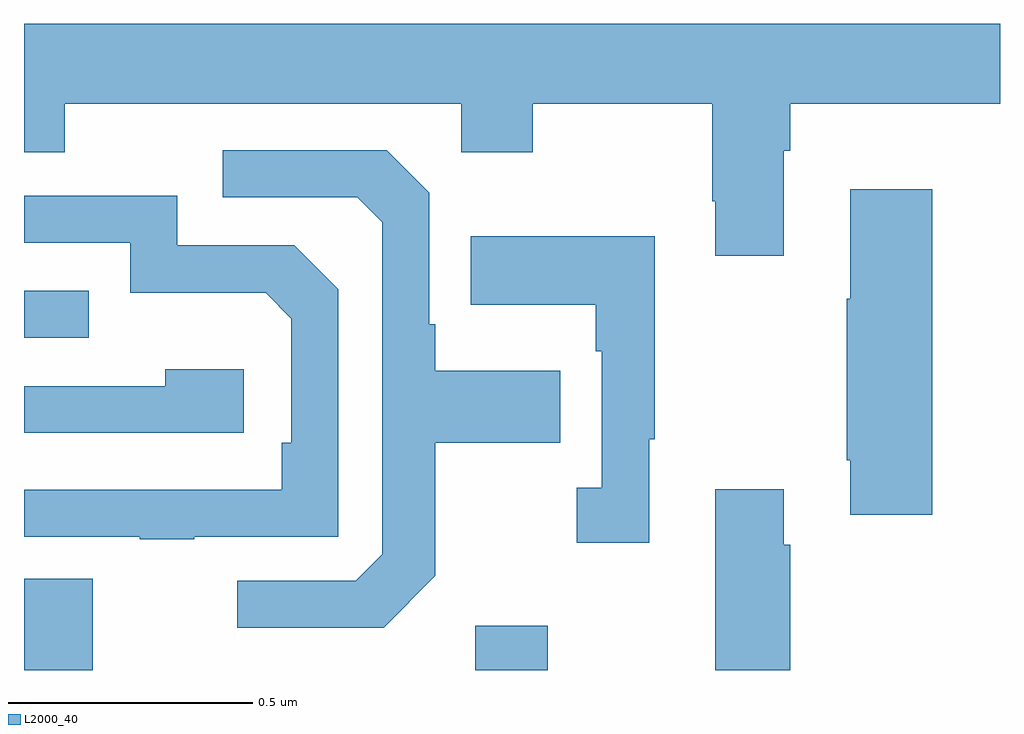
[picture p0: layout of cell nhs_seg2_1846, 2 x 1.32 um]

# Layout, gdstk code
import gdstk
lib = gdstk.Library(unit=1e-6, precision=1e-09)
def R(c, l, rs):  # rectangles x0, y0, x1, y1
    for r in rs: c.add(gdstk.rectangle(r[:2], r[2:], *l))
def P(c, l, *ps):  # polygons
    for p in ps: c.add(gdstk.Polygon(p, *l))
L2000_40 = (2000, 40)

nhs_seg2_1846 = lib.new_cell('nhs_seg2_1846')
R(nhs_seg2_1846, L2000_40, [(133.001,655.8,133.141,655.987), (133.925,655.8,134.073,655.891), (133,656.481,133.133,656.577)])
P(nhs_seg2_1846, L2000_40, [(134.557,656.864),(134.57,656.864),(134.57,656.96),(135,656.96),(135,657.124),(133,657.124),(133,656.861),(133.083,656.861),(133.083,656.96),(133.896,656.96),(133.896,656.861),(134.043,656.861),(134.043,656.96),(134.41,656.96),(134.41,656.761),(134.417,656.761),(134.417,656.649),(134.557,656.649)],
  [(133.843,655.993),(133.843,656.266),(134.099,656.266),(134.099,656.413),(133.843,656.413),(133.843,656.509),(133.83,656.509),(133.83,656.778),(133.743,656.865),(133.407,656.865),(133.407,656.769),(133.683,656.769),(133.734,656.718),(133.734,656.037),(133.68,655.983),(133.437,655.983),(133.437,655.887),(133.737,655.887)],
  [(134.861,656.785),(134.693,656.785),(134.693,656.561),(134.686,656.561),(134.686,656.23),(134.693,656.23),(134.693,656.118),(134.861,656.118)],
  [(133.349,656.073),(133.644,656.073),(133.644,656.58),(133.554,656.67),(133.314,656.67),(133.314,656.772),(133,656.772),(133,656.676),(133.218,656.676),(133.218,656.573),(133.495,656.573),(133.548,656.52),(133.548,656.266),(133.528,656.266),(133.528,656.169),(133,656.169),(133,656.073),(133.237,656.073),(133.237,656.068),(133.349,656.068)],
  [(134.281,656.273),(134.293,656.273),(134.293,656.689),(133.915,656.689),(133.915,656.549),(134.172,656.549),(134.172,656.453),(134.184,656.453),(134.184,656.174),(134.133,656.174),(134.133,656.061),(134.281,656.061)],
  [(133.45,656.416),(133.289,656.416),(133.289,656.382),(133,656.382),(133,656.286),(133.45,656.286)],
  [(134.57,656.057),(134.557,656.057),(134.557,656.17),(134.417,656.17),(134.417,655.8),(134.57,655.8)])

lib.write_gds('nhs_seg2_1846.gds')
